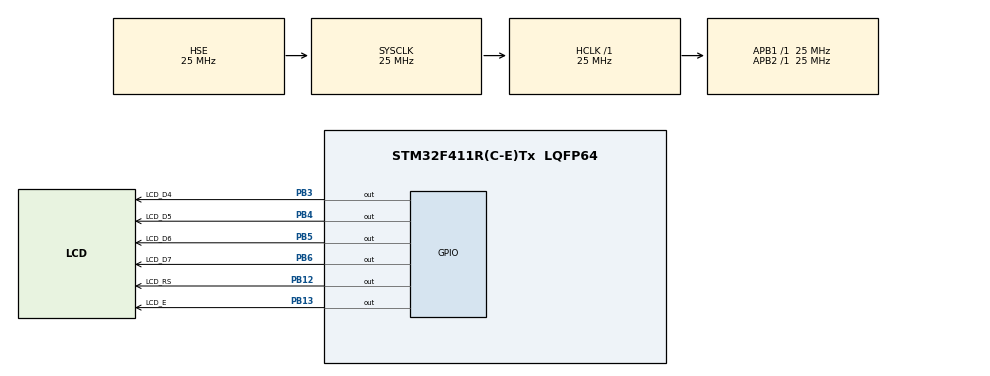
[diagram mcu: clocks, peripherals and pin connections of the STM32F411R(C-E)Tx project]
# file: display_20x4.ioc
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Mcu.Family=STM32F4
Mcu.Name=STM32F411R(C-E)Tx
Mcu.Package=LQFP64
NVIC.PriorityGroup=NVIC_PRIORITYGROUP_4
PA13.Mode=Serial_Wire
PA13.Signal=SYS_JTMS-SWDIO
PA14.Mode=Serial_Wire
PA14.Signal=SYS_JTCK-SWCLK
PB12.GPIO_Label=LCD_RS
PB12.GPIO_Speed=GPIO_SPEED_FREQ_VERY_HIGH
PB12.Signal=GPIO_Output
PB13.GPIO_Label=LCD_E
PB13.GPIO_Speed=GPIO_SPEED_FREQ_VERY_HIGH
PB13.Signal=GPIO_Output
PB3.GPIO_Label=LCD_D4
PB3.GPIO_Speed=GPIO_SPEED_FREQ_VERY_HIGH
PB3.Signal=GPIO_Output
PB4.GPIO_Label=LCD_D5
PB4.GPIO_Speed=GPIO_SPEED_FREQ_VERY_HIGH
PB4.Signal=GPIO_Output
PB5.GPIO_Label=LCD_D6
PB5.GPIO_Speed=GPIO_SPEED_FREQ_VERY_HIGH
PB5.Signal=GPIO_Output
PB6.GPIO_Label=LCD_D7
PB6.GPIO_Speed=GPIO_SPEED_FREQ_VERY_HIGH
PB6.Signal=GPIO_Output
PH0\ -\ OSC_IN.Mode=HSE-External-Oscillator
PH0\ -\ OSC_IN.Signal=RCC_OSC_IN
PH1\ -\ OSC_OUT.Mode=HSE-External-Oscillator
PH1\ -\ OSC_OUT.Signal=RCC_OSC_OUT
ProjectManager.HeapSize=0x200
ProjectManager.StackSize=0x400
ProjectManager.TargetToolchain=STM32CubeIDE
RCC.AHBFreq_Value=25000000
RCC.APB1Freq_Value=25000000
RCC.APB1TimFreq_Value=25000000
RCC.APB2Freq_Value=25000000
RCC.APB2TimFreq_Value=25000000
RCC.CortexFreq_Value=25000000
RCC.HCLKFreq_Value=25000000
RCC.HSE_VALUE=25000000
RCC.HSI_VALUE=16000000
RCC.LSE_VALUE=32768
RCC.SYSCLKFreq_VALUE=25000000
RCC.SYSCLKSource=RCC_SYSCLKSOURCE_HSE
RCC.VCOOutputFreq_Value=192000000
board=custom

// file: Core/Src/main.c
/* USER CODE BEGIN Header */
/**
  ******************************************************************************
  * @file           : main.c
  * @brief          : Main program body
  ******************************************************************************
  * @attention
  *
  * Copyright (c) 2025 STMicroelectronics.
  * All rights reserved.
  *
  * This software is licensed under terms that can be found in the LICENSE file
  * in the root directory of this software component.
  * If no LICENSE file comes with this software, it is provided AS-IS.
  *
  ******************************************************************************
  */
/* USER CODE END Header */
#include "main.h"
#include "gpio.h"

/* USER CODE BEGIN Includes */
#include <stdint.h>
#include "lcdDisplay.h"
#include <stdio.h>
/* USER CODE END Includes */

void SystemClock_Config(void);

int main(void)
{

  /* USER CODE BEGIN 1 */
	lcd_t Lcd;
	char texto[21];
	uint32_t count;

  /* USER CODE END 1 */

  /* MCU Configuration--------------------------------------------------------*/

  /* Reset of all peripherals, Initializes the Flash interface and the Systick. */
  HAL_Init();

  /* Configure the system clock */
  SystemClock_Config();

  /* Initialize all configured peripherals */
  MX_GPIO_Init();
  /* USER CODE BEGIN 2 */
  Lcd.columns = 20;
  Lcd.rows = 4;
  Lcd.gpios[LCD_RS].GPIO = LCD_RS_GPIO_Port;
  Lcd.gpios[LCD_RS].pin = LCD_RS_Pin;
  Lcd.gpios[LCD_E].GPIO = LCD_E_GPIO_Port;
  Lcd.gpios[LCD_E].pin = LCD_E_Pin;
  Lcd.gpios[LCD_D4].GPIO = LCD_D4_GPIO_Port;
  Lcd.gpios[LCD_D4].pin = LCD_D4_Pin;
  Lcd.gpios[LCD_D5].GPIO = LCD_D5_GPIO_Port;
  Lcd.gpios[LCD_D5].pin = LCD_D5_Pin;
  Lcd.gpios[LCD_D6].GPIO = LCD_D6_GPIO_Port;
  Lcd.gpios[LCD_D6].pin = LCD_D6_Pin;
  Lcd.gpios[LCD_D7].GPIO = LCD_D7_GPIO_Port;
  Lcd.gpios[LCD_D7].pin = LCD_D7_Pin;

  lcd_init(&Lcd);

  lcd_put_cur(&Lcd, 0, 0);
  lcd_send_string(&Lcd, "ola mundo");
  /* USER CODE END 2 */

  /* Infinite loop */
  /* USER CODE BEGIN WHILE */
  count = 0;
  while (1)
  {
	  sprintf(texto, "Contador: %ld", count);
	  lcd_put_cur(&Lcd, 1, 0);
	  lcd_send_string(&Lcd, texto);
	  count++;
	  HAL_Delay(500);
    /* USER CODE END WHILE */

  }
}

void SystemClock_Config(void)
{
  RCC_OscInitTypeDef RCC_OscInitStruct = {0};
  RCC_ClkInitTypeDef RCC_ClkInitStruct = {0};

  /** Configure the main internal regulator output voltage
  */
  __HAL_RCC_PWR_CLK_ENABLE();
  __HAL_PWR_VOLTAGESCALING_CONFIG(PWR_REGULATOR_VOLTAGE_SCALE1);

  /** Initializes the RCC Oscillators according to the specified parameters
  * in the RCC_OscInitTypeDef structure.
  */
  RCC_OscInitStruct.OscillatorType = RCC_OSCILLATORTYPE_HSE;
  RCC_OscInitStruct.HSEState = RCC_HSE_ON;
  RCC_OscInitStruct.PLL.PLLState = RCC_PLL_NONE;
  if (HAL_RCC_OscConfig(&RCC_OscInitStruct) != HAL_OK)
  {
    Error_Handler();
  }

  /** Initializes the CPU, AHB and APB buses clocks
  */
  RCC_ClkInitStruct.ClockType = RCC_CLOCKTYPE_HCLK|RCC_CLOCKTYPE_SYSCLK
                              |RCC_CLOCKTYPE_PCLK1|RCC_CLOCKTYPE_PCLK2;
  RCC_ClkInitStruct.SYSCLKSource = RCC_SYSCLKSOURCE_HSE;
  RCC_ClkInitStruct.AHBCLKDivider = RCC_SYSCLK_DIV1;
  RCC_ClkInitStruct.APB1CLKDivider = RCC_HCLK_DIV1;
  RCC_ClkInitStruct.APB2CLKDivider = RCC_HCLK_DIV1;

  if (HAL_RCC_ClockConfig(&RCC_ClkInitStruct, FLASH_LATENCY_0) != HAL_OK)
  {
    Error_Handler();
  }
}

void Error_Handler(void)
{
  __disable_irq();
  while (1)
  {
  }
}
